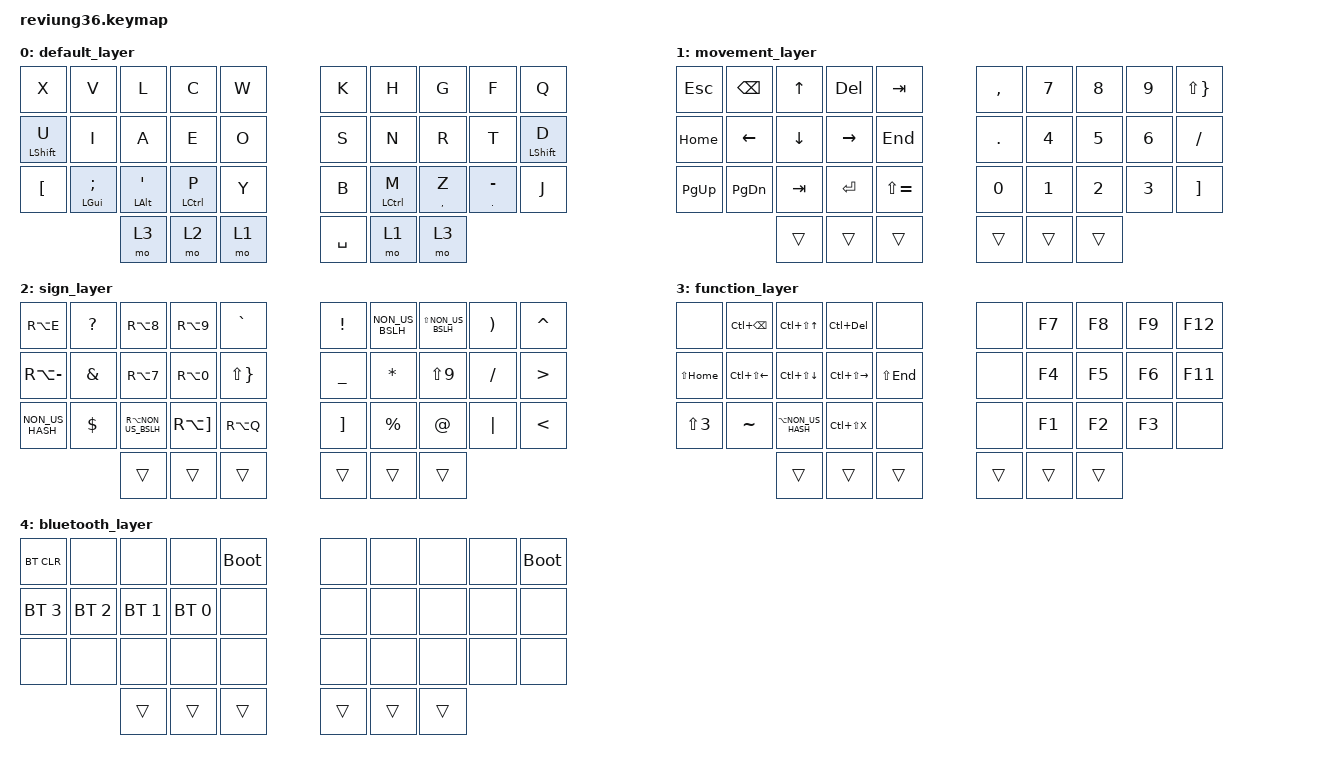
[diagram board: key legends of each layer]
/*
 * Copyright (c) 2021 The ZMK Contributors
 *
 * SPDX-License-Identifier: MIT
 */
 
#include <behaviors.dtsi>
#include <dt-bindings/zmk/keys.h>
#include <dt-bindings/zmk/bt.h>
#include <dt-bindings/zmk/outputs.h>


/ {
    behaviors {
        ht_tp: homerow_mods {
            compatible = "zmk,behavior-hold-tap";
            label = "HOMEROW_MODS";
            #binding-cells = <2>;
            tapping-term-ms = <150>;
            quick-tap-ms = <0>;
            flavor = "tap-preferred";
            bindings = <&kp>, <&kp>;
        };
    };
    keymap {
        compatible = "zmk,keymap";
        default_layer {
        //|----------------------------------|    |----------------------------------|
        //|   X  |   V  |   L  |   C  |   W  |    |   K  |   H  |   G  |   F  |   Q  |
        //+------+------+------+------+------|    |------+------+------+------+------|
        //|   U  |   I  |   A  |   E  |   O  |    |   S  |   N  |   R  |   T  |   D  |
        //|------+------+------+------+------|    |------+------+------+------+------|
        //|   Ü  |   Ö  |   Ä  |   P  |   Z  |    |   B  |   M  |   Y  |   ß  |   J  |
        //|------+------+------+------+------|    |------+------+------+------+------|
                      //|  M3  |  M2  |  M1  |    |  M3  |  SPC |  M4  |
                      //|--------------------|    |--------------------|  

            bindings = <
                &kp X      &kp V    &kp L   &kp C    &kp W   &kp K   &kp H   &kp G   &kp F   &kp Q      
                &ht_tp LSHIFT U   &kp I    &kp A   &kp E   &kp O   &kp S   &kp N   &kp R   &kp T    &ht_tp LSHIFT D
                &kp LBKT   &ht_tp LGUI SEMI    &ht_tp LALT SQT   &ht_tp LCTRL P    &kp Y   &kp B   &ht_tp LCTRL M   &ht_tp COMMA Z   &ht_tp DOT MINUS   &kp J  
                                  &mo 3   &mo 2    &mo 1   &kp SPACE   &mo 1    &mo 3 
            >;
        };
        movement_layer {

        //|----------------------------------|    |----------------------------------|
        //|  ESC |  BKS |  UP  |  DEL |  TAB |    |   ,  |   7  |   8  |   9  |   *  |
        //+------+------+------+------+------|    |------+------+------+------+------|
        //| HOME | LEFT | DOWN | RGHT |  END |    |   .  |   4  |   5  |   6  |   -  |
        //|------+------+------+------+------|    |------+------+------+------+------|
        //| PGUP | PGDW |  TAB | ENTR | NONE |    |   0  |   1  |   2  |   3  |   +  |
        //|------+------+------+------+------|    |------+------+------+------+------|
        //              | TRNS | TRNS | TRNS |    | TRNS | TRNS | TRNS |
        //              |--------------------|    |--------------------|  

            bindings = <
                &kp ESC   &kp BSPC  &kp UP   &kp DEL   &kp TAB &kp COMMA  &kp N7   &kp N8   &kp N9   &kp LS(RBRC)      
                &kp HOME  &kp LEFT  &kp DOWN &kp RIGHT &kp END &kp DOT    &kp N4   &kp N5   &kp N6   &kp FSLH   
                &kp PG_UP &kp PG_DN &kp TAB  &kp ENTER  &kp LS(EQUAL)  &kp N0     &kp N1   &kp N2   &kp N3   &kp RBKT  
                                 &trans   &trans &trans   &trans   &trans   &trans 
            >;
        };
        sign_layer {

        //|----------------------------------|    |----------------------------------|
        //|   €  |   _  |   [  |   ]  |   ^  |    |   !  |   <  |   >  |   =  |   &  |
        //+------+------+------+------+------|    |------+------+------+------+------|
        //|   \  |   /  |   {  |   }  |   *  |    |   ?  |   (  |   )  |   -  |   :  |
        //|------+------+------+------+------|    |------+------+------+------+------|
        //|   #  |   $  |   |  |   ~  |   @  |    |   +  |   %  |   "  |   '  |   ;  |
        //|------+------+------+------+------|    |------+------+------+------+------|
                      //| TRNS | TRNS | TRNS |    | TRNS | TRNS | TRNS |
                      //|--------------------|    |--------------------|  

            bindings = <
                &kp RA(E)       &kp QMARK  &kp RA(N8)          &kp RA(N9)   &kp GRAVE    &kp EXCL  &kp NON_US_BSLH &kp LS(NON_US_BSLH) &kp RPAR   &kp CARET   
                &kp RA(MINUS)   &kp AMPS   &kp RA(N7)          &kp RA(N0)   &kp LS(RBRC) &kp UNDER &kp ASTRK       &kp LS(N9)          &kp FSLH   &kp GT 
                &kp NON_US_HASH &kp DOLLAR &kp RA(NON_US_BSLH) &kp RA(RBKT) &kp RA(Q)    &kp RBKT  &kp PRCNT       &kp AT              &kp PIPE   &kp LT       
                                &trans &trans &trans &trans &trans  &trans
            >;
        };
        function_layer {

        //|----------------------------------|    |----------------------------------|
        //| NONE - BKSP |  UP  |  DEL | NONE |    | NONE |  F7  |  F8  |  F9  |  F12 |
        //+------+------+------+------+------|    |------+------+------+------+------|
        //| HOME | LEFT | DOWN | RGHT |  END |    | NONE |  F4  |  F5  |  F6  |  F11 |
        //|------+------+------+------+------|    |------+------+------+------+------|
        //|   §  |   °  |  CMT | 1PSS | NONE |    | NONE |  F1  |  F2  |  F3  | NONE |
        //|------+------+------+------+------|    |------+------+------+------+------|
                      //| TRNS | TRNS | TRNS |    | TRNS | TRNS | TRNS |
                      //|--------------------|    |--------------------|  

            bindings = <
                &none &kp LC(BSPC)        &kp LC(LS(UP))      &kp LC(DEL)         &none               &none           &kp F7  &kp F8  &kp F9 &kp F12 
                &kp LS(HOME) &kp LC(LS(LEFT))    &kp LC(LS(DOWN))    &kp LC(LS(RIGHT))   &kp LS(END)	&none           &kp F4  &kp F5  &kp F6 &kp F11 
                &kp LS(N3) &kp TILDE  &kp LA(NON_US_HASH) &kp LC(LS(X))       &none               &none          &kp F1  &kp F2  &kp F3 &none 
                                &trans &trans &trans &trans &trans &trans  
            >;
        };
        bluetooth_layer {

        //|----------------------------------|    |----------------------------------|
        //|  CLR | NONE | NONE | NONE | BOOT |    | NONE | NONE | NONE | NONE | BOOT |
        //+------+------+------+------+------|    |------+------+------+------+------|
        //|  BT3 |  BT2 |  BT1 |  BT0 | NONE |    | NONE | NONE | NONE | NONE | NONE |
        //|------+------+------+------+------|    |------+------+------+------+------|
        //| NONE | NONE | NONE | NONE | NONE |    | NONE | NONE | NONE | NONE | NONE |
        //|------+------+------+------+------|    |------+------+------+------+------|
                      //| TRNS | TRNS | TRNS |    | TRNS | TRNS | TRNS |
                      //|--------------------|    |--------------------|  

            bindings = <
                &bt BT_CLR &none &none &none &bootloader &none &none &none &none &bootloader
                &bt BT_SEL 3  &bt BT_SEL 2  &bt BT_SEL 1  &bt BT_SEL 0  &none  &none  &none  &none  &none   &none
                &none  &none  &none  &none  &none  &none  &none  &none &none   &none  
                               &trans &trans &trans &trans &trans  &trans
            >;
        };
    };
};
